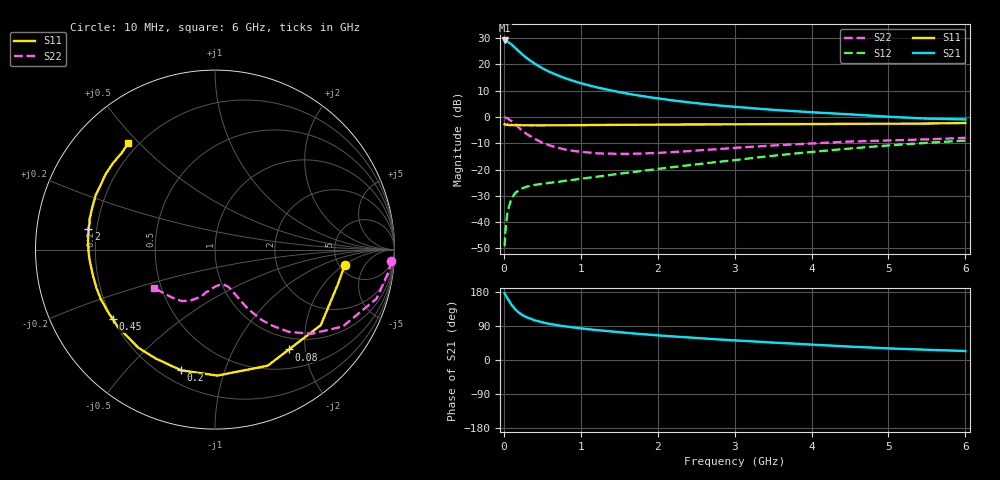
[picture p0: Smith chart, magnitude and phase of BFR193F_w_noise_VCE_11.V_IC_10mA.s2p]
! (c) 2017  Infineon Technologies AG, Munich
! Infineon Technologies  Discrete & RF Semiconductors
! BFR193F
! VCE =  11. V,  IC =  10 mA
! Common Emitter S-Parameters:  Jan 2017
# GHz  S  MA  R  50
!  f  S11  S21  S12  S22
! GHz  MAG  ANG  MAG  ANG  MAG  ANG  MAG  ANG
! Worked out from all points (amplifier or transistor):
!   77 points, 10 MHz to 6 GHz, reference 50 ohm
!   highest |S21| = 29.1 dB at 10 MHz (marker M1)
!   |S21| within 3 dB of that: start of sweep to 154.7 MHz
!   unconditionally stable (mu >= 1): 1.63 GHz to 2.874 GHz
!   at 130 MHz: K = 0.18, MSG = 28.2 dB, |S12| = -29.7 dB
!   at 2.2 GHz: K = 1.04, MAG = 11.4 dB, |S12| = -19.1 dB
!   at 6 GHz: K = 0.78, MSG = 4.0 dB, |S12| = -9.0 dB
!   lowest NFmin = 0.87 dB at 450 MHz
!   S11 on the Smith chart (normalised r, x): 10 MHz: 5.58, -2.04; 80 MHz: 0.79, -1.70; 200 MHz: 0.27, -0.72; 450 MHz: 0.20, -0.30; 2 GHz: 0.17, +0.08; 6 GHz: 0.16, +0.47
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0.01  0.7277 -6.8  28.39 176.3  0.0035 85.3  0.9829 -3.6
0.02  0.7122 -15.1  28.09 172.1  0.0064 86.1  0.9768 -6.9
0.05  0.7242 -35.5  27.01 161.4  0.0157 74.7  0.941 -16.9
0.08  0.6922 -53.5  24.92 152.2  0.0229 64.7  0.8685 -24.9
0.1  0.7103 -65.6  23.92 145.3  0.0279 60.9  0.831 -31.0
0.15  0.7021 -88.9  20.4 133.3  0.0361 51.9  0.7136 -41.1
0.2  0.6985 -105.7  17.43 124.2  0.0411 47.3  0.6157 -48.1
0.25  0.6908 -118.6  14.93 117.4  0.0447 43.2  0.5325 -52.9
0.3  0.6941 -128.1  13.04 112.3  0.0473 40.9  0.471 -56.4
0.4  0.692 -141.4  10.28 104.6  0.051 39.3  0.3818 -60.7
0.45  0.689 -145.8  9.341 102.3  0.0522 39.4  0.3532 -61.8
0.6  0.6932 -156.8  7.123 95.1  0.0561 40.3  0.2864 -64.9
0.7  0.6945 -162.1  6.167 91.6  0.0581 42.2  0.2601 -66.6
0.9  0.696 -169.4  4.851 86.1  0.0637 45.5  0.2266 -69.5
1.1  0.7005 -174.6  3.999 81.3  0.0699 49.3  0.2108 -72.8
1.5  0.7071 177.8  2.97 73.5  0.0833 56.3  0.1985 -80.6
2  0.7144 170.6  2.254 65.1  0.1027 62.8  0.207 -90.4
2.1  0.714 169.5  2.154 63.7  0.1069 63.8  0.211 -92.0
3.1  0.7249 159.2  1.517 50.7  0.1571 70.1  0.2638 -105.4
4.1  0.7334 149.3  1.206 39.6  0.2226 71.0  0.3183 -116.9
5.1  0.7453 138.3  0.992 29.9  0.2939 67.3  0.3604 -133.1
6  0.7671 129.0  0.895 23.7  0.3552 62.1  0.4015 -148.2
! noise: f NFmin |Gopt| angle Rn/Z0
0.45  0.87  0.25  139  0.07
0.9  1  0.38  152  0.07
1.9  1.7  0.59  -176  0.06
2.4  2.05  0.63  -165  0.08
